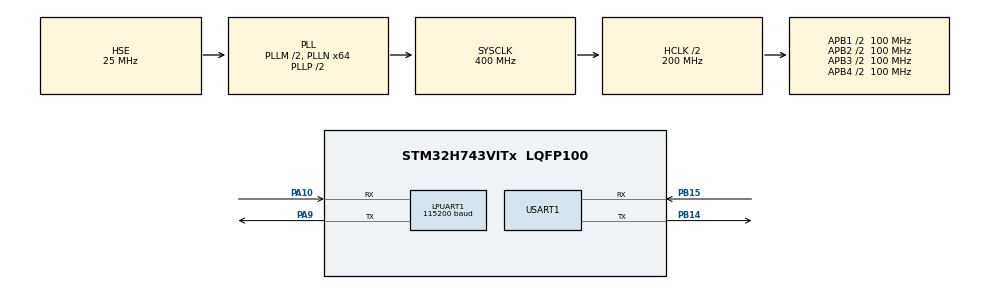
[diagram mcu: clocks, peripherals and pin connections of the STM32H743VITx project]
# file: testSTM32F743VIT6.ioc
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CORTEX_M7.CPU_DCache=Enabled
CORTEX_M7.CPU_ICache=Enabled
LPUART1.BaudRate=115200
Mcu.Family=STM32H7
Mcu.Name=STM32H743VITx
Mcu.Package=LQFP100
NVIC.PriorityGroup=NVIC_PRIORITYGROUP_4
NVIC.TIM1_UP_IRQn=true\:15\:0\:false\:false\:true\:false\:true\:true
NVIC.TimeBase=TIM1_UP_IRQn
NVIC.TimeBaseIP=TIM1
PA10.Mode=Asynchronous
PA10.Signal=LPUART1_RX
PA9.Mode=Asynchronous
PA9.Signal=LPUART1_TX
PB14.Mode=Asynchronous
PB14.Signal=USART1_TX
PB15.Mode=Asynchronous
PB15.Signal=USART1_RX
PH0-OSC_IN\ (PH0).Mode=HSE-External-Oscillator
PH0-OSC_IN\ (PH0).Signal=RCC_OSC_IN
PH1-OSC_OUT\ (PH1).Mode=HSE-External-Oscillator
PH1-OSC_OUT\ (PH1).Signal=RCC_OSC_OUT
ProjectManager.HeapSize=0x200
ProjectManager.StackSize=0x400
ProjectManager.TargetToolchain=MDK-ARM V5.32
RCC.ADCFreq_Value=50390625
RCC.APB1Freq_Value=100000000
RCC.APB2Freq_Value=100000000
RCC.APB3Freq_Value=100000000
RCC.APB4Freq_Value=100000000
RCC.CortexFreq_Value=400000000
RCC.D1PPRE=RCC_APB3_DIV2
RCC.D2PPRE1=RCC_APB1_DIV2
RCC.D2PPRE2=RCC_APB2_DIV2
RCC.D3PPRE=RCC_APB4_DIV2
RCC.DIVM1=2
RCC.DIVN1=64
RCC.EnbaleCSS=true
RCC.HCLKFreq_Value=200000000
RCC.HPRE=RCC_HCLK_DIV2
RCC.HSE_VALUE=25000000
RCC.PLL2FRACN=0
RCC.PLL3FRACN=0
RCC.PLL3_VCI_Range-AdvancedSettings=RCC_PLL3VCIRANGE_3
RCC.PLLFRACN=0
RCC.PLLSourceVirtual=RCC_PLLSOURCE_HSE
RCC.SYSCLKFreq_VALUE=400000000
RCC.SYSCLKSource=RCC_SYSCLKSOURCE_PLLCLK
RCC.USBFreq_Value=400000000
USART1.VirtualMode-Asynchronous=VM_ASYNC
VP_SYS_VS_tim1.Mode=TIM1
board=custom

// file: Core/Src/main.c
/* USER CODE BEGIN Header */
/**
  ******************************************************************************
  * @file           : main.c
  * @brief          : Main program body
  ******************************************************************************
  * @attention
  *
  * Copyright (c) 2023 STMicroelectronics.
  * All rights reserved.
  *
  * This software is licensed under terms that can be found in the LICENSE file
  * in the root directory of this software component.
  * If no LICENSE file comes with this software, it is provided AS-IS.
  *
  ******************************************************************************
  */
/* USER CODE END Header */
#include "main.h"
#include "usart.h"
#include "gpio.h"

/* USER CODE BEGIN Includes */
//"C:\\MySoft\\IDE\\Keil5\\ARM\\ARMCC\\include",

/* USER CODE END Includes */

/* USER CODE BEGIN PV */
TaskHandle_t testTaskHandler;
TaskHandle_t startTaskHandler;
/* USER CODE END PV */

void SystemClock_Config(void);
/* USER CODE BEGIN PFP */
void testTask(void *param);
void startTask(void *param);
/* USER CODE END PFP */

/* USER CODE BEGIN 0 */
void testTask(void *param)
{
  TickType_t xLastWakeTime;
  xLastWakeTime=xTaskGetTickCount();

  for (;;)
  {
    printf("This is test task!system frequence is:%d\n",HAL_RCC_GetSysClockFreq());
    xTaskDelayUntil(&xLastWakeTime,pdMS_TO_TICKS(200));
  }

}
void startTask(void *param)
{
  printf("%s created.\n",(char*)param);
  vPortEnterCritical();
  xTaskCreate(testTask,"test task",1024,"test task",4,&testTaskHandler);
  vPortExitCritical();
  printf("exit critical\n");
  vTaskDelete(NULL);
}
/* USER CODE END 0 */

int main(void)
{

  /* Enable I-Cache---------------------------------------------------------*/
  SCB_EnableICache();

  /* Enable D-Cache---------------------------------------------------------*/
  SCB_EnableDCache();

  /* MCU Configuration--------------------------------------------------------*/

  /* Reset of all peripherals, Initializes the Flash interface and the Systick. */
  HAL_Init();

  /* Configure the system clock */
  SystemClock_Config();

  /* Initialize all configured peripherals */
  MX_GPIO_Init();
  MX_LPUART1_UART_Init();
  MX_USART1_UART_Init();
  /* USER CODE BEGIN 2 */
  SCB_CleanDCache();

  xTaskCreate(startTask,"start task",2048,"start task",5,&startTaskHandler);
  vTaskStartScheduler();

  /* USER CODE END 2 */

  /* Infinite loop */
  while (1)
  {

  }
}

void SystemClock_Config(void)
{
  RCC_OscInitTypeDef RCC_OscInitStruct = {0};
  RCC_ClkInitTypeDef RCC_ClkInitStruct = {0};

  /** Supply configuration update enable
  */
  HAL_PWREx_ConfigSupply(PWR_LDO_SUPPLY);

  /** Configure the main internal regulator output voltage
  */
  __HAL_PWR_VOLTAGESCALING_CONFIG(PWR_REGULATOR_VOLTAGE_SCALE1);

  while(!__HAL_PWR_GET_FLAG(PWR_FLAG_VOSRDY)) {}

  /** Initializes the RCC Oscillators according to the specified parameters
  * in the RCC_OscInitTypeDef structure.
  */
  RCC_OscInitStruct.OscillatorType = RCC_OSCILLATORTYPE_HSE;
  RCC_OscInitStruct.HSEState = RCC_HSE_ON;
  RCC_OscInitStruct.PLL.PLLState = RCC_PLL_ON;
  RCC_OscInitStruct.PLL.PLLSource = RCC_PLLSOURCE_HSE;
  RCC_OscInitStruct.PLL.PLLM = 2;
  RCC_OscInitStruct.PLL.PLLN = 64;
  RCC_OscInitStruct.PLL.PLLP = 2;
  RCC_OscInitStruct.PLL.PLLQ = 2;
  RCC_OscInitStruct.PLL.PLLR = 2;
  RCC_OscInitStruct.PLL.PLLRGE = RCC_PLL1VCIRANGE_3;
  RCC_OscInitStruct.PLL.PLLVCOSEL = RCC_PLL1VCOWIDE;
  RCC_OscInitStruct.PLL.PLLFRACN = 0;
  if (HAL_RCC_OscConfig(&RCC_OscInitStruct) != HAL_OK)
  {
    Error_Handler();
  }

  /** Initializes the CPU, AHB and APB buses clocks
  */
  RCC_ClkInitStruct.ClockType = RCC_CLOCKTYPE_HCLK|RCC_CLOCKTYPE_SYSCLK
                              |RCC_CLOCKTYPE_PCLK1|RCC_CLOCKTYPE_PCLK2
                              |RCC_CLOCKTYPE_D3PCLK1|RCC_CLOCKTYPE_D1PCLK1;
  RCC_ClkInitStruct.SYSCLKSource = RCC_SYSCLKSOURCE_PLLCLK;
  RCC_ClkInitStruct.SYSCLKDivider = RCC_SYSCLK_DIV1;
  RCC_ClkInitStruct.AHBCLKDivider = RCC_HCLK_DIV2;
  RCC_ClkInitStruct.APB3CLKDivider = RCC_APB3_DIV2;
  RCC_ClkInitStruct.APB1CLKDivider = RCC_APB1_DIV2;
  RCC_ClkInitStruct.APB2CLKDivider = RCC_APB2_DIV2;
  RCC_ClkInitStruct.APB4CLKDivider = RCC_APB4_DIV2;

  if (HAL_RCC_ClockConfig(&RCC_ClkInitStruct, FLASH_LATENCY_2) != HAL_OK)
  {
    Error_Handler();
  }

  /** Enables the Clock Security System
  */
  HAL_RCC_EnableCSS();
}

/* USER CODE BEGIN 4 */
void vApplicationMallocFailedHook( void )
{
  printf("Malloc failed\n");
}

void vApplicationStackOverflowHook( TaskHandle_t xTask,char * pcTaskName )
{
  printf("%s stack over flow\n",pcTaskName);
}
/* USER CODE END 4 */

void HAL_TIM_PeriodElapsedCallback(TIM_HandleTypeDef *htim)
{
  if (htim->Instance == TIM1) {
    HAL_IncTick();
  }
}

void Error_Handler(void)
{
  __disable_irq();
  while (1)
  {
  }
}
